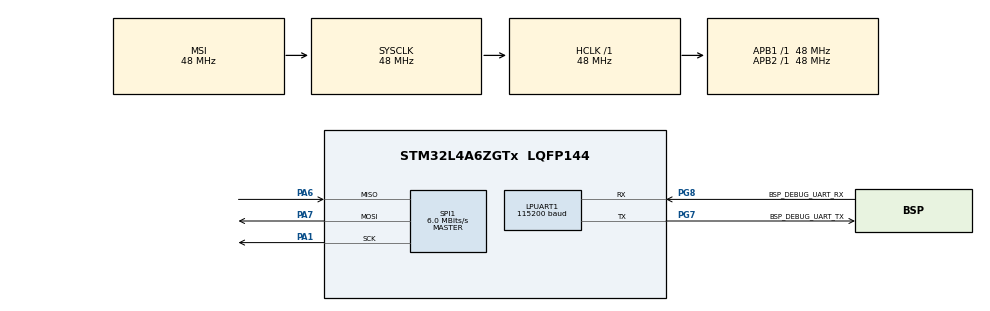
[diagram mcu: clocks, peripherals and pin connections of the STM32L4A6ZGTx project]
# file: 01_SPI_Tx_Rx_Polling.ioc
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LPUART1.BaudRate=115200
LPUART1.WordLength=UART_WORDLENGTH_8B
Mcu.Family=STM32L4
Mcu.Name=STM32L4A6ZGTx
Mcu.Package=LQFP144
NVIC.PriorityGroup=NVIC_PRIORITYGROUP_4
PA1.Mode=Full_Duplex_Master
PA1.Signal=SPI1_SCK
PA6.Mode=Full_Duplex_Master
PA6.Signal=SPI1_MISO
PA7.Mode=Full_Duplex_Master
PA7.Signal=SPI1_MOSI
PG7.GPIO_Label=BSP_DEBUG_UART_TX
PG7.Mode=Asynchronous
PG7.Signal=LPUART1_TX
PG8.GPIO_Label=BSP_DEBUG_UART_RX
PG8.Mode=Asynchronous
PG8.Signal=LPUART1_RX
ProjectManager.HeapSize=0x200
ProjectManager.StackSize=0x400
ProjectManager.TargetToolchain=STM32CubeIDE
RCC.ADCFreq_Value=192000000
RCC.AHBFreq_Value=48000000
RCC.APB1Freq_Value=48000000
RCC.APB1TimFreq_Value=48000000
RCC.APB2Freq_Value=48000000
RCC.APB2TimFreq_Value=48000000
RCC.CortexFreq_Value=48000000
RCC.HCLKFreq_Value=48000000
RCC.HSE_VALUE=16000000
RCC.HSI48_VALUE=48000000
RCC.HSI_VALUE=16000000
RCC.LSE_VALUE=32768
RCC.MSIClockRange=RCC_MSIRANGE_11
RCC.MSI_VALUE=48000000
RCC.SYSCLKFreq_VALUE=48000000
RCC.USBFreq_Value=192000000
RCC.VCOOutputFreq_Value=384000000
SPI1.BaudRatePrescaler=SPI_BAUDRATEPRESCALER_8
SPI1.CalculateBaudRate=6.0 MBits/s
SPI1.DataSize=SPI_DATASIZE_8BIT
SPI1.Direction=SPI_DIRECTION_2LINES
SPI1.Mode=SPI_MODE_MASTER
SPI1.VirtualType=VM_MASTER
board=NUCLEO-L4A6ZG

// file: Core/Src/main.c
/* USER CODE BEGIN Header */
/**
  ******************************************************************************
  * @file           : main.c
  * @brief          : Main program body
  ******************************************************************************
  * @attention
  *
  * Copyright (c) 2024 STMicroelectronics.
  * All rights reserved.
  *
  * This software is licensed under terms that can be found in the LICENSE file
  * in the root directory of this software component.
  * If no LICENSE file comes with this software, it is provided AS-IS.
  *
  ******************************************************************************
  */
/* USER CODE END Header */
#include "main.h"

/* USER CODE BEGIN Includes */
#include "stdio.h"
#include "string.h"
/* USER CODE END Includes */

/* USER CODE BEGIN PM */

#define BUFFER_SIZE 256

/* USER CODE END PM */

UART_HandleTypeDef hlpuart1;

SPI_HandleTypeDef hspi1;

/* USER CODE BEGIN PV */
//uint8_t buffer_tx[10] = {97,76,65,56,87,58,85,69,66,84};

uint8_t buffer_rx[BUFFER_SIZE];
uint8_t buffer_print[BUFFER_SIZE];

/* USER CODE END PV */

void SystemClock_Config(void);
static void MX_GPIO_Init(void);
static void MX_LPUART1_UART_Init(void);
static void MX_SPI1_Init(void);

int main(void)
{

  /* MCU Configuration--------------------------------------------------------*/

  /* Reset of all peripherals, Initializes the Flash interface and the Systick. */
  HAL_Init();

  /* Configure the system clock */
  SystemClock_Config();

  /* Initialize all configured peripherals */
  MX_GPIO_Init();
  MX_LPUART1_UART_Init();
  MX_SPI1_Init();

  /* Infinite loop */
  while (1)
  {

    /* USER CODE BEGIN 3 */

		// Clear the buffers
		memset(buffer_rx, 0, BUFFER_SIZE);
		memset(buffer_print, 0, BUFFER_SIZE);

		// Variable to track the number of received bytes
		uint16_t received_length = 0;

		// Receive data through UART until newline character or buffer full
		while (received_length < BUFFER_SIZE - 1) {
			uint8_t ch;
			HAL_StatusTypeDef status = HAL_UART_Receive(&hlpuart1, &ch, 1,
					HAL_MAX_DELAY);

			if (status == HAL_OK) {
				buffer_rx[received_length++] = ch;

				// Break if newline character is received
				if (ch == '\n') {
					break;
				}
			}
		}

		// Ensure the buffer is null-terminated
		buffer_rx[received_length] = '\0';

		if (received_length > 0) {
			// Transmit and receive data through SPI
			HAL_SPI_TransmitReceive(&hspi1, buffer_rx, buffer_print,
					received_length, HAL_MAX_DELAY);

			// Transmit the received SPI data through UART
			HAL_UART_Transmit(&hlpuart1, buffer_print, received_length,
					HAL_MAX_DELAY);
//			printf("\r\n");
			// Clear the buffers
			memset(buffer_rx, 0, BUFFER_SIZE);
			memset(buffer_print, 0, BUFFER_SIZE);
		}

//		HAL_Delay(1000);
  }
  /* USER CODE END 3 */
}

void SystemClock_Config(void)
{
  RCC_OscInitTypeDef RCC_OscInitStruct = {0};
  RCC_ClkInitTypeDef RCC_ClkInitStruct = {0};

  /** Configure the main internal regulator output voltage
  */
  if (HAL_PWREx_ControlVoltageScaling(PWR_REGULATOR_VOLTAGE_SCALE1) != HAL_OK)
  {
    Error_Handler();
  }

  /** Initializes the RCC Oscillators according to the specified parameters
  * in the RCC_OscInitTypeDef structure.
  */
  RCC_OscInitStruct.OscillatorType = RCC_OSCILLATORTYPE_MSI;
  RCC_OscInitStruct.MSIState = RCC_MSI_ON;
  RCC_OscInitStruct.MSICalibrationValue = 0;
  RCC_OscInitStruct.MSIClockRange = RCC_MSIRANGE_11;
  RCC_OscInitStruct.PLL.PLLState = RCC_PLL_NONE;
  if (HAL_RCC_OscConfig(&RCC_OscInitStruct) != HAL_OK)
  {
    Error_Handler();
  }

  /** Initializes the CPU, AHB and APB buses clocks
  */
  RCC_ClkInitStruct.ClockType = RCC_CLOCKTYPE_HCLK|RCC_CLOCKTYPE_SYSCLK
                              |RCC_CLOCKTYPE_PCLK1|RCC_CLOCKTYPE_PCLK2;
  RCC_ClkInitStruct.SYSCLKSource = RCC_SYSCLKSOURCE_MSI;
  RCC_ClkInitStruct.AHBCLKDivider = RCC_SYSCLK_DIV1;
  RCC_ClkInitStruct.APB1CLKDivider = RCC_HCLK_DIV1;
  RCC_ClkInitStruct.APB2CLKDivider = RCC_HCLK_DIV1;

  if (HAL_RCC_ClockConfig(&RCC_ClkInitStruct, FLASH_LATENCY_2) != HAL_OK)
  {
    Error_Handler();
  }
}

static void MX_LPUART1_UART_Init(void)
{

  hlpuart1.Instance = LPUART1;
  hlpuart1.Init.BaudRate = 115200;
  hlpuart1.Init.WordLength = UART_WORDLENGTH_8B;
  hlpuart1.Init.StopBits = UART_STOPBITS_1;
  hlpuart1.Init.Parity = UART_PARITY_NONE;
  hlpuart1.Init.Mode = UART_MODE_TX_RX;
  hlpuart1.Init.HwFlowCtl = UART_HWCONTROL_NONE;
  hlpuart1.Init.OneBitSampling = UART_ONE_BIT_SAMPLE_DISABLE;
  hlpuart1.AdvancedInit.AdvFeatureInit = UART_ADVFEATURE_NO_INIT;
  if (HAL_UART_Init(&hlpuart1) != HAL_OK)
  {
    Error_Handler();
  }

}

static void MX_SPI1_Init(void)
{

  /* SPI1 parameter configuration*/
  hspi1.Instance = SPI1;
  hspi1.Init.Mode = SPI_MODE_MASTER;
  hspi1.Init.Direction = SPI_DIRECTION_2LINES;
  hspi1.Init.DataSize = SPI_DATASIZE_8BIT;
  hspi1.Init.CLKPolarity = SPI_POLARITY_LOW;
  hspi1.Init.CLKPhase = SPI_PHASE_1EDGE;
  hspi1.Init.NSS = SPI_NSS_SOFT;
  hspi1.Init.BaudRatePrescaler = SPI_BAUDRATEPRESCALER_8;
  hspi1.Init.FirstBit = SPI_FIRSTBIT_MSB;
  hspi1.Init.TIMode = SPI_TIMODE_DISABLE;
  hspi1.Init.CRCCalculation = SPI_CRCCALCULATION_DISABLE;
  hspi1.Init.CRCPolynomial = 7;
  hspi1.Init.CRCLength = SPI_CRC_LENGTH_DATASIZE;
  hspi1.Init.NSSPMode = SPI_NSS_PULSE_ENABLE;
  if (HAL_SPI_Init(&hspi1) != HAL_OK)
  {
    Error_Handler();
  }

}

static void MX_GPIO_Init(void)
{

  /* GPIO Ports Clock Enable */
  __HAL_RCC_GPIOA_CLK_ENABLE();
  __HAL_RCC_GPIOG_CLK_ENABLE();
  HAL_PWREx_EnableVddIO2();

}

void Error_Handler(void)
{
  __disable_irq();
  while (1)
  {
  }
}
